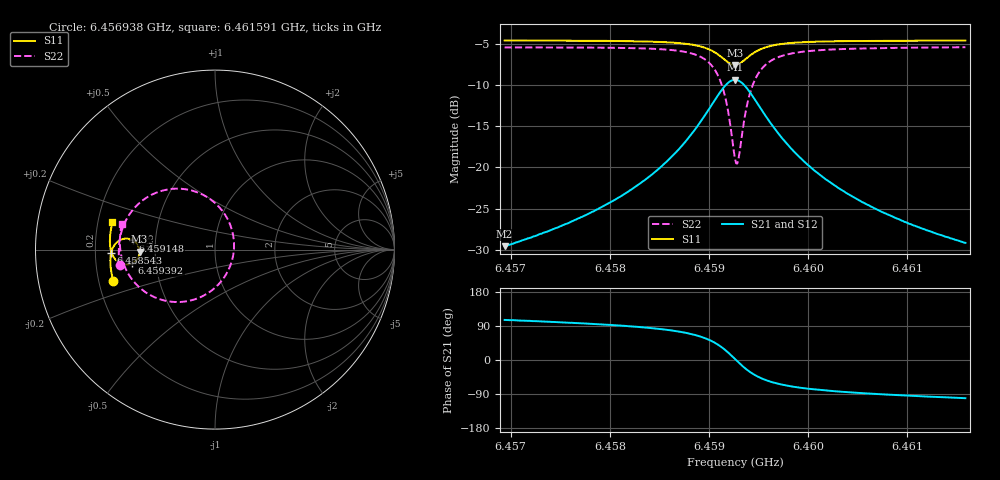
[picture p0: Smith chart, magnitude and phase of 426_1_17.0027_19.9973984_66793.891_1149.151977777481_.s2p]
#  HZ  S  RI  R  50.00
! Rohde & Schwarz Vector Network Analyzer
! Rohde-Schwarz,ZNB20-2Port,1311601062101988,3.16
! Created: UTC 3/20/2024, 11:11:09 PM
! freq[Hz]  re:S11  im:S11  re:S21  im:S21  re:S12  im:S12  re:S22  im:S22
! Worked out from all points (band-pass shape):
!   401 points, 6.456938 GHz to 6.461591 GHz, reference 50 ohm
!   highest |S21| = -9.33 dB at 6.459264 GHz (marker M1); lowest = -29.6 dB at 6.456938 GHz (marker M2)
!   |S21| within 3 dB of the highest: 6.459032 GHz to 6.459497 GHz (464.8 kHz wide, 0.0072 % of centre)
!   lowest |S11| = -7.5 dB at 6.459264 GHz (marker M3), VSWR 2.45, Z = 20.4 - j0.534 ohm
!   |S11| at or under -10 dB: nowhere
!   |S22| runs from -19.5 to -5.4 dB; largest |S21 - S12| = 0.013
!   S11 on the Smith chart (normalised r, x): 6.456938 GHz: 0.26, -0.14; 6.458543 GHz: 0.27, -0.01; 6.459148 GHz: 0.37, +0.05; 6.459392 GHz: 0.37, -0.07; 6.461591 GHz: 0.26, +0.12
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6.456938e9  -0.5657 -0.1753  -0.00903 0.032  -0.00724 0.0319  -0.5299 -0.0882
6.4577174e9  -0.5803 -0.1073  -0.0059 0.0496  -0.00346 0.0492  -0.5359 0.00182
6.4581245e9  -0.5834 -0.0669  -0.000644 0.0675  0.00272 0.0663  -0.5293 0.065
6.4584967e9  -0.5799 -0.023  0.0136 0.0975  0.0176 0.095  -0.5039 0.1467
6.4585433e9  -0.5785 -0.0168  0.0169 0.1031  0.0209 0.1001  -0.4977 0.1598
6.4587527e9  -0.5665 0.0151  0.0425 0.1343  0.0466 0.1296  -0.4496 0.2311
6.4589039e9  -0.5455 0.0414  0.0844 0.1644  0.0879 0.158  -0.3722 0.2952
6.4590551e9  -0.4998 0.0612  0.1754 0.1837  0.1763 0.1762  -0.2065 0.3396
6.4591482e9  -0.4558 0.0512  0.2643 0.1532  0.2647 0.1473  -0.0417 0.2912
6.4591947e9  -0.4347 0.0327  0.3078 0.111  0.3088 0.1058  0.0407 0.2163
6.4592645e9  -0.4199 -0.0108  0.3411 0.0154  0.3446 0.00844  0.1059 0.0389
6.4592761e9  -0.4203 -0.0187  0.3411 -0.0022  0.3447 -0.00971  0.1058 0.00578
6.4592994e9  -0.4237 -0.0341  0.3356 -0.0365  0.3393 -0.0455  0.0953 -0.0592
6.4593459e9  -0.4391 -0.0599  0.3077 -0.096  0.3098 -0.1077  0.0389 -0.1713
6.4593925e9  -0.461 -0.076  0.2661 -0.1366  0.2654 -0.1498  -0.0447 -0.2457
6.4594855e9  -0.5039 -0.0826  0.1825 -0.1678  0.1763 -0.1792  -0.2112 -0.292
6.4596367e9  -0.5473 -0.0623  0.0954 -0.1545  0.0872 -0.1605  -0.3771 -0.2439
6.4597996e9  -0.5687 -0.0346  0.0511 -0.127  0.0436 -0.1297  -0.4568 -0.173
6.4600439e9  -0.5812 0.000968  0.0222 -0.0959  0.0164 -0.0965  -0.5045 -0.0914
6.4603929e9  -0.5856 0.0421  0.00632 -0.0694  0.00229 -0.0691  -0.5261 -0.0129
6.4608233e9  -0.5835 0.0851  -0.00139 -0.0512  -0.0042 -0.0504  -0.5302 0.0552
6.461591e9  -0.5711 0.1529  -0.00651 -0.0342  -0.00812 -0.0332  -0.5187 0.145
